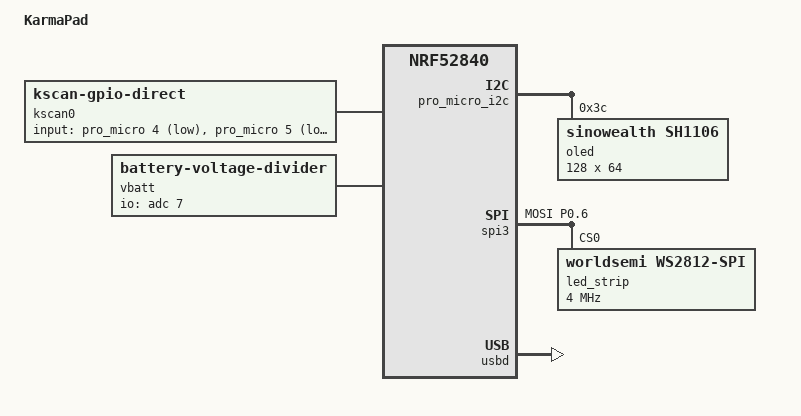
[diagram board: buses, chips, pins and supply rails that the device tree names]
/*
 * KarmaPad board definition
 * "If humans made it, I can do it too."
 */

#include <nordic/nrf52840_qiaa.dtsi>
#include "arduino_pro_micro_pins.dtsi"

/ {
    model = "KarmaPad";
    compatible = "1801collective,karmapad";

    chosen {
        zephyr,code-partition = &code_partition;
        zephyr,display = &oled;
        zmk,kscan = &kscan0;
        zmk,underglow = &led_strip;
        zmk,battery = &vbatt;
    };

    // Direct-wire 6 keys (no matrix needed for 6 switches)
    kscan0: kscan_direct {
        compatible = "zmk,kscan-gpio-direct";
        wakeup-source;
        input-gpios
            = <&pro_micro 4  (GPIO_ACTIVE_LOW | GPIO_PULL_UP)>  // K1 / F13
            , <&pro_micro 5  (GPIO_ACTIVE_LOW | GPIO_PULL_UP)>  // K2 / F14
            , <&pro_micro 6  (GPIO_ACTIVE_LOW | GPIO_PULL_UP)>  // K3 / F15
            , <&pro_micro 7  (GPIO_ACTIVE_LOW | GPIO_PULL_UP)>  // K4 / F16
            , <&pro_micro 8  (GPIO_ACTIVE_LOW | GPIO_PULL_UP)>  // K5 / F17
            , <&pro_micro 9  (GPIO_ACTIVE_LOW | GPIO_PULL_UP)>  // K6 / F18
            , <&pro_micro 10 (GPIO_ACTIVE_LOW | GPIO_PULL_UP)>  // K7 / Left encoder switch
            , <&pro_micro 14 (GPIO_ACTIVE_LOW | GPIO_PULL_UP)>  // K8 / Right encoder switch
            ;
    };

    // LiPo battery voltage divider on pin P0.31
    vbatt: vbatt {
        compatible = "zmk,battery-voltage-divider";
        io-channels = <&adc 7>;
        output-ohms = <2000000>;
        full-ohms = <(2000000 + 820000)>;
    };
};

// ==================== I2C0 — SH1106 1.3" OLED ====================
&pro_micro_i2c {
    status = "okay";

    oled: ssd1306@3c {
        compatible = "sinowealth,sh1106";
        reg = <0x3c>;
        width = <128>;
        height = <64>;
        segment-offset = <2>;      // SH1106 offset — critical, don't change
        page-offset = <0>;
        display-offset = <0>;
        multiplex-ratio = <63>;
        segment-remap;
        com-invdir;
        prechargep = <0x22>;
    };
};

// ==================== SPI0 — WS2812B underglow ====================
&pinctrl {
    spi3_default: spi3_default {
        group1 {
            psels = <NRF_PSEL(SPIM_MOSI, 0, 6)>;   // Pro Micro pin 16 (MOSI)
        };
    };
    spi3_sleep: spi3_sleep {
        group1 {
            psels = <NRF_PSEL(SPIM_MOSI, 0, 6)>;
            low-power-enable;
        };
    };
};

&spi3 {
    compatible = "nordic,nrf-spim";
    status = "okay";
    pinctrl-0 = <&spi3_default>;
    pinctrl-1 = <&spi3_sleep>;
    pinctrl-names = "default", "sleep";

    led_strip: ws2812@0 {
        compatible = "worldsemi,ws2812-spi";
        reg = <0>;
        spi-max-frequency = <4000000>;
        chain-length = <10>;            // CHANGE to your LED count
        spi-one-frame = <0x70>;
        spi-zero-frame = <0x40>;
        color-mapping = <LED_COLOR_ID_GREEN LED_COLOR_ID_RED LED_COLOR_ID_BLUE>;
    };
};

&usbd {
    status = "okay";
};
